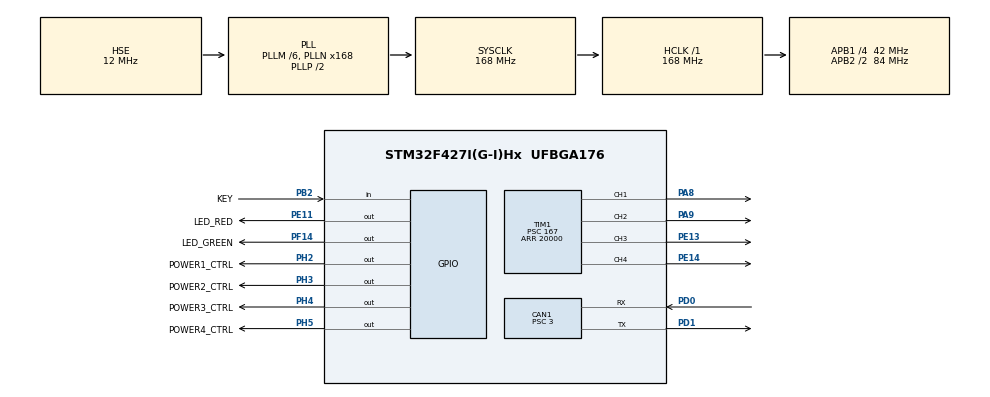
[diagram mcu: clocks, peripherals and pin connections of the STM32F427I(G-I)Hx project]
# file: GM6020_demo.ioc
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CAN1.ABOM=ENABLE
CAN1.BS1=CAN_BS1_9TQ
CAN1.BS2=CAN_BS2_4TQ
CAN1.CalculateTimeQuantum=71.42857142857143
CAN1.NART=DISABLE
CAN1.Prescaler=3
CAN1.SJW=CAN_SJW_1TQ
Mcu.Family=STM32F4
Mcu.Name=STM32F427I(G-I)Hx
Mcu.Package=UFBGA176
NVIC.CAN1_RX0_IRQn=true\:0\:0\:false\:false\:true\:true\:true
NVIC.CAN1_TX_IRQn=true\:0\:0\:false\:false\:true\:true\:true
NVIC.PriorityGroup=NVIC_PRIORITYGROUP_4
PA8.Signal=S_TIM1_CH1
PA9.Signal=S_TIM1_CH2
PB2/BOOT1.GPIO_Label=KEY
PB2/BOOT1.Signal=GPIO_Input
PD0.Mode=Master
PD0.Signal=CAN1_RX
PD1.Mode=Master
PD1.Signal=CAN1_TX
PE11.GPIO_Label=LED_RED
PE11.Signal=GPIO_Output
PE13.Signal=S_TIM1_CH3
PE14.Signal=S_TIM1_CH4
PF14.GPIO_Label=LED_GREEN
PF14.Signal=GPIO_Output
PH0/OSC_IN.Mode=HSE-External-Oscillator
PH0/OSC_IN.Signal=RCC_OSC_IN
PH1/OSC_OUT.Mode=HSE-External-Oscillator
PH1/OSC_OUT.Signal=RCC_OSC_OUT
PH2.GPIO_Label=POWER1_CTRL
PH2.Signal=GPIO_Output
PH3.GPIO_Label=POWER2_CTRL
PH3.Signal=GPIO_Output
PH4.GPIO_Label=POWER3_CTRL
PH4.Signal=GPIO_Output
PH5.GPIO_Label=POWER4_CTRL
PH5.Signal=GPIO_Output
ProjectManager.HeapSize=0x200
ProjectManager.StackSize=0x400
ProjectManager.TargetToolchain=MDK-ARM V5
RCC.48MHZClocksFreq_Value=84000000
RCC.AHBFreq_Value=168000000
RCC.APB1CLKDivider=RCC_HCLK_DIV4
RCC.APB1Freq_Value=42000000
RCC.APB1TimFreq_Value=84000000
RCC.APB2CLKDivider=RCC_HCLK_DIV2
RCC.APB2Freq_Value=84000000
RCC.APB2TimFreq_Value=168000000
RCC.CortexFreq_Value=168000000
RCC.HCLKFreq_Value=168000000
RCC.HSE_VALUE=12000000
RCC.HSI_VALUE=16000000
RCC.LSE_VALUE=32768
RCC.PLLM=6
RCC.PLLN=168
RCC.PLLSourceVirtual=RCC_PLLSOURCE_HSE
RCC.SYSCLKFreq_VALUE=168000000
RCC.SYSCLKSource=RCC_SYSCLKSOURCE_PLLCLK
RCC.VCOOutputFreq_Value=336000000
SH.S_TIM1_CH1.0=TIM1_CH1,PWM Generation1 CH1
SH.S_TIM1_CH2.0=TIM1_CH2,PWM Generation2 CH2
SH.S_TIM1_CH3.0=TIM1_CH3,PWM Generation3 CH3
SH.S_TIM1_CH4.0=TIM1_CH4,PWM Generation4 CH4
TIM1.Channel-PWM\ Generation1\ CH1=TIM_CHANNEL_1
TIM1.Channel-PWM\ Generation2\ CH2=TIM_CHANNEL_2
TIM1.Channel-PWM\ Generation3\ CH3=TIM_CHANNEL_3
TIM1.Channel-PWM\ Generation4\ CH4=TIM_CHANNEL_4
TIM1.Period=20000
TIM1.Prescaler=167
TIM1.Pulse-PWM\ Generation1\ CH1=1000
TIM1.Pulse-PWM\ Generation2\ CH2=1000
TIM1.Pulse-PWM\ Generation3\ CH3=1000
TIM1.Pulse-PWM\ Generation4\ CH4=1000
board=PWM

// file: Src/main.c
/* USER CODE BEGIN Header */
/**
 ******************************************************************************
 * @file           : main.c
 * @brief          : Main program body
 ******************************************************************************
 ** This notice applies to any and all portions of this file
 * that are not between comment pairs USER CODE BEGIN and
 * USER CODE END. Other portions of this file, whether
 * inserted by the user or by software development tools
 * are owned by their respective copyright owners.
 *
 * COPYRIGHT(c) 2018 STMicroelectronics
 *
 * Redistribution and use in source and binary forms, with or without modification,
 * are permitted provided that the following conditions are met:
 *   1. Redistributions of source code must retain the above copyright notice,
 *      this list of conditions and the following disclaimer.
 *   2. Redistributions in binary form must reproduce the above copyright notice,
 *      this list of conditions and the following disclaimer in the documentation
 *      and/or other materials provided with the distribution.
 *   3. Neither the name of STMicroelectronics nor the names of its contributors
 *      may be used to endorse or promote products derived from this software
 *      without specific prior written permission.
 *
 * THIS SOFTWARE IS PROVIDED BY THE COPYRIGHT HOLDERS AND CONTRIBUTORS "AS IS"
 * AND ANY EXPRESS OR IMPLIED WARRANTIES, INCLUDING, BUT NOT LIMITED TO, THE
 * IMPLIED WARRANTIES OF MERCHANTABILITY AND FITNESS FOR A PARTICULAR PURPOSE ARE
 * DISCLAIMED. IN NO EVENT SHALL THE COPYRIGHT HOLDER OR CONTRIBUTORS BE LIABLE
 * FOR ANY DIRECT, INDIRECT, INCIDENTAL, SPECIAL, EXEMPLARY, OR CONSEQUENTIAL
 * DAMAGES (INCLUDING, BUT NOT LIMITED TO, PROCUREMENT OF SUBSTITUTE GOODS OR
 * SERVICES; LOSS OF USE, DATA, OR PROFITS; OR BUSINESS INTERRUPTION) HOWEVER
 * CAUSED AND ON ANY THEORY OF LIABILITY, WHETHER IN CONTRACT, STRICT LIABILITY,
 * OR TORT (INCLUDING NEGLIGENCE OR OTHERWISE) ARISING IN ANY WAY OUT OF THE USE
 * OF THIS SOFTWARE, EVEN IF ADVISED OF THE POSSIBILITY OF SUCH DAMAGE.
 *
 ******************************************************************************
 */
/* USER CODE END Header */

#include "main.h"
#include "can.h"
#include "tim.h"
#include "gpio.h"

/* USER CODE BEGIN Includes */
#include "bsp_key.h"
#include "bsp_led.h"
#include "bsp_can.h"
#include "bsp_pwm.h"
#include "pid.h"
/* USER CODE END Includes */

/* USER CODE BEGIN PTD */
typedef enum
{
  TURN_WAIT,
  TURN_INIT,
  TURN_LEFT_INIT,
  TURN_LEFT_IDLE,
  TURN_LEFT,
  TURN_RIGHT_INIT,
  TURN_RIGHT_IDLE,
  TURN_RIGHT,
} edirection_state;
typedef enum
{
  SPEED_STOP_INIT,
  SPEED_STOP,
  SPEED_RAMP,
  SPEED_CONST,
} espeed_state;
/* USER CODE END PTD */

/* USER CODE BEGIN PD */
#define ROTATE_RPM 5U
#define ROTOR_ANGLE_MAX_RAW 8192U
#define ROTATE_HALF_RANGE_RAW (40U * ROTOR_ANGLE_MAX_RAW / 360U)                                      // SWITCH_DIRECTION_DEADBAND_ANGLE/2 < ROTATE_HALF_RANGE_RAW < 180
#define SWITCH_DIRECTION_DEADBAND_ANGLE 15U                                                           // degree
#define SWITCH_DIRECTION_DEADBAND_TIME ((SWITCH_DIRECTION_DEADBAND_ANGLE * 500U) / (3U * ROTATE_RPM)) // milliseconds
/* USER CODE END PD */

/* USER CODE BEGIN PV */
extern moto_info_t motor_info[MOTOR_MAX_NUM];
pid_struct_t motor_pid[7];
float target_speed_abs = 0.0f;
float target_speed = 0.0f;
uint32_t timestamp = 0;
uint16_t target_speed_uint16 = 0;
uint16_t rotor_angle_center = 0;
uint8_t overflow_underflow_flag = 0; // 0 is normal, 1 is underflow, 2 is overflow
uint8_t stop_flag = 1;
uint8_t direction_flag = 0; // 0 is left, 1 is right
espeed_state speed_state = SPEED_STOP_INIT;
edirection_state direction_state = TURN_WAIT;
/* USER CODE END PV */

void SystemClock_Config(void);
/* USER CODE BEGIN PFP */
void direction_manager(void);
void speed_manager(void);
/* USER CODE END PFP */

int main(void)
{

  /* MCU Configuration--------------------------------------------------------*/

  /* Reset of all peripherals, Initializes the Flash interface and the Systick. */
  HAL_Init();

  /* Configure the system clock */
  SystemClock_Config();

  /* Initialize all configured peripherals */
  MX_GPIO_Init();
  MX_CAN1_Init();
  MX_TIM1_Init();
  /* USER CODE BEGIN 2 */
  HAL_GPIO_WritePin(GPIOH, POWER1_CTRL_Pin | POWER2_CTRL_Pin | POWER3_CTRL_Pin | POWER4_CTRL_Pin, GPIO_PIN_SET); // switch on 24v power
  // pwm_init();                              // start pwm output
  can_user_init(&hcan1); // config can filter, start can
  for (uint8_t i = 0; i < 7; i++)
  {
    pid_init(&motor_pid[i], 40, 3, 0, 30000, 30000); // init pid parameter, kp=40, ki=3, kd=0, output limit = 30000
  }
  /* USER CODE END 2 */

  while (1)
  {
    // press user key to toggle stop/restart
    if (key_scan())
    {
      stop_flag = stop_flag ? 0 : 1;
    }

    direction_manager();

    speed_manager();

    if (!stop_flag)
    {
      motor_info[0].set_voltage = pid_calc(&motor_pid[0], target_speed, motor_info[0].rotor_speed);
      /* send motor control message through can bus*/
      set_motor_voltage(0, motor_info[0].set_voltage, 0, 0, 0);
    }
    else{
      motor_pid[0].ref=0;
      motor_pid[0].fdb=0;
      motor_pid[0].err[0]=0;
      motor_pid[0].err[1]=0;
      motor_pid[0].p_out=0;
      motor_pid[0].i_out=0;
      motor_pid[0].d_out=0;
      motor_pid[0].output=0;
    }

    /* system delay 1ms */
    HAL_Delay(0);
    /* USER CODE END WHILE */

  }
}

void speed_manager(void)
{
  switch (speed_state)
  {
  case SPEED_STOP_INIT:
    target_speed = 0.0f;
    target_speed_uint16 = 0;
    speed_state = SPEED_STOP;
  case SPEED_STOP:
    if (!stop_flag)
    {
      speed_state = SPEED_RAMP;
    }
    break;

  case SPEED_RAMP:
    if (stop_flag)
    {
      speed_state = SPEED_STOP_INIT;
    }
    else
    {
      // ramp up speed within 500 ms
      if (target_speed_uint16 < 500U)
      {
        target_speed_uint16++;
        target_speed_abs = ((float)target_speed_uint16) * ROTATE_RPM / 500.0f; // avoid floating point accumulation error
        if (direction_flag)
        {
          target_speed = -1.0f * target_speed_abs; // go right
        }
        else
        {
          target_speed = target_speed_abs; // go left
        }
      }
      else
      {
        speed_state = SPEED_CONST;
      }
    }
    break;
  case SPEED_CONST:
    if (stop_flag)
    {
      speed_state = SPEED_STOP_INIT;
    }
    else if (direction_flag)
    {
      target_speed = -1.0f * target_speed_abs; // go right
    }
    else
    {
      target_speed = target_speed_abs; // go left
    }
    break;
  default:
    Error_Handler();
    break;
  }
}

void direction_manager(void)
{
  if (stop_flag)
  {
    direction_state = TURN_WAIT;
  }

  switch (direction_state)
  {
  case TURN_WAIT:
    if (!stop_flag)
    {
      direction_state = TURN_INIT;
    }
    break;
  case TURN_INIT:
    // wait until first rotor angle signal is received
    if (motor_info[0].rotor_angle != 0)
    {
      // mark inititial position as center
      rotor_angle_center = motor_info[0].rotor_angle;
      if (rotor_angle_center < ROTATE_HALF_RANGE_RAW)
      {
        overflow_underflow_flag = 1; // underflow
      }
      else if (rotor_angle_center > ROTOR_ANGLE_MAX_RAW - ROTATE_HALF_RANGE_RAW)
      {
        overflow_underflow_flag = 2; // overflow
      }
      else
      {
        overflow_underflow_flag = 0; // normal situation
      }
      direction_state = TURN_LEFT_INIT;
    }
    break;

  case TURN_LEFT_INIT:
    direction_flag = 0;
    timestamp = HAL_GetTick();
    direction_state = TURN_LEFT_IDLE;
  case TURN_LEFT_IDLE:
    if (HAL_GetTick() - timestamp > SWITCH_DIRECTION_DEADBAND_TIME)
    {
      direction_state = TURN_LEFT;
    }
    break;
  case TURN_LEFT:
    // target_speed > 0, and rotor_angle increase
    // target_speed = target_speed > 0 ? target_speed : -target_speed;
    switch (overflow_underflow_flag)
    {
    case 0:
      if (motor_info[0].rotor_angle > rotor_angle_center + ROTATE_HALF_RANGE_RAW)
      {
        direction_state = TURN_RIGHT_INIT;
      }
      break;
    case 1:
      // underflow
      if ((motor_info[0].rotor_angle > rotor_angle_center + ROTATE_HALF_RANGE_RAW) && (motor_info[0].rotor_angle < ROTOR_ANGLE_MAX_RAW - (ROTATE_HALF_RANGE_RAW - rotor_angle_center)))
      {
        direction_state = TURN_RIGHT_INIT;
      }
      break;
    case 2:
      // overflow
      if ((motor_info[0].rotor_angle < rotor_angle_center - ROTATE_HALF_RANGE_RAW) && (motor_info[0].rotor_angle > rotor_angle_center + ROTATE_HALF_RANGE_RAW - ROTOR_ANGLE_MAX_RAW))
      {
        direction_state = TURN_RIGHT_INIT;
      }
      break;
    default:
      Error_Handler();
      break;
    }
    break;

  case TURN_RIGHT_INIT:
    direction_flag = 1;
    timestamp = HAL_GetTick();
    direction_state = TURN_RIGHT_IDLE;
  case TURN_RIGHT_IDLE:
    if (HAL_GetTick() - timestamp > SWITCH_DIRECTION_DEADBAND_TIME)
    {
      direction_state = TURN_RIGHT;
    }
    break;
  case TURN_RIGHT:
    // target_speed = target_speed > 0 ? -target_speed : target_speed;
    switch (overflow_underflow_flag)
    {
    case 0:
      if (motor_info[0].rotor_angle < rotor_angle_center - ROTATE_HALF_RANGE_RAW)
      {
        direction_state = TURN_LEFT_INIT;
      }
      break;
    case 1:
      // underflow
      if ((motor_info[0].rotor_angle > rotor_angle_center + ROTATE_HALF_RANGE_RAW) && (motor_info[0].rotor_angle < ROTOR_ANGLE_MAX_RAW - (ROTATE_HALF_RANGE_RAW - rotor_angle_center)))
      {
        direction_state = TURN_LEFT_INIT;
      }
      break;
    case 2:
      // overflow
      if ((motor_info[0].rotor_angle < rotor_angle_center - ROTATE_HALF_RANGE_RAW) && (motor_info[0].rotor_angle > rotor_angle_center + ROTATE_HALF_RANGE_RAW - ROTOR_ANGLE_MAX_RAW))
      {
        direction_state = TURN_LEFT_INIT;
      }
      break;
    default:
      Error_Handler();
      break;
    }
    break;
  default:
    Error_Handler();
    break;
  }
}

void SystemClock_Config(void)
{
  RCC_OscInitTypeDef RCC_OscInitStruct = {0};
  RCC_ClkInitTypeDef RCC_ClkInitStruct = {0};

  /**Configure the main internal regulator output voltage
   */
  __HAL_RCC_PWR_CLK_ENABLE();
  __HAL_PWR_VOLTAGESCALING_CONFIG(PWR_REGULATOR_VOLTAGE_SCALE1);
  /**Initializes the CPU, AHB and APB busses clocks
   */
  RCC_OscInitStruct.OscillatorType = RCC_OSCILLATORTYPE_HSE;
  RCC_OscInitStruct.HSEState = RCC_HSE_ON;
  RCC_OscInitStruct.PLL.PLLState = RCC_PLL_ON;
  RCC_OscInitStruct.PLL.PLLSource = RCC_PLLSOURCE_HSE;
  RCC_OscInitStruct.PLL.PLLM = 6;
  RCC_OscInitStruct.PLL.PLLN = 168;
  RCC_OscInitStruct.PLL.PLLP = RCC_PLLP_DIV2;
  RCC_OscInitStruct.PLL.PLLQ = 4;
  if (HAL_RCC_OscConfig(&RCC_OscInitStruct) != HAL_OK)
  {
    Error_Handler();
  }
  /**Initializes the CPU, AHB and APB busses clocks
   */
  RCC_ClkInitStruct.ClockType = RCC_CLOCKTYPE_HCLK | RCC_CLOCKTYPE_SYSCLK | RCC_CLOCKTYPE_PCLK1 | RCC_CLOCKTYPE_PCLK2;
  RCC_ClkInitStruct.SYSCLKSource = RCC_SYSCLKSOURCE_PLLCLK;
  RCC_ClkInitStruct.AHBCLKDivider = RCC_SYSCLK_DIV1;
  RCC_ClkInitStruct.APB1CLKDivider = RCC_HCLK_DIV4;
  RCC_ClkInitStruct.APB2CLKDivider = RCC_HCLK_DIV2;

  if (HAL_RCC_ClockConfig(&RCC_ClkInitStruct, FLASH_LATENCY_5) != HAL_OK)
  {
    Error_Handler();
  }
}

void Error_Handler(void)
{
}

/************************ (C) COPYRIGHT STMicroelectronics *****END OF FILE****/
